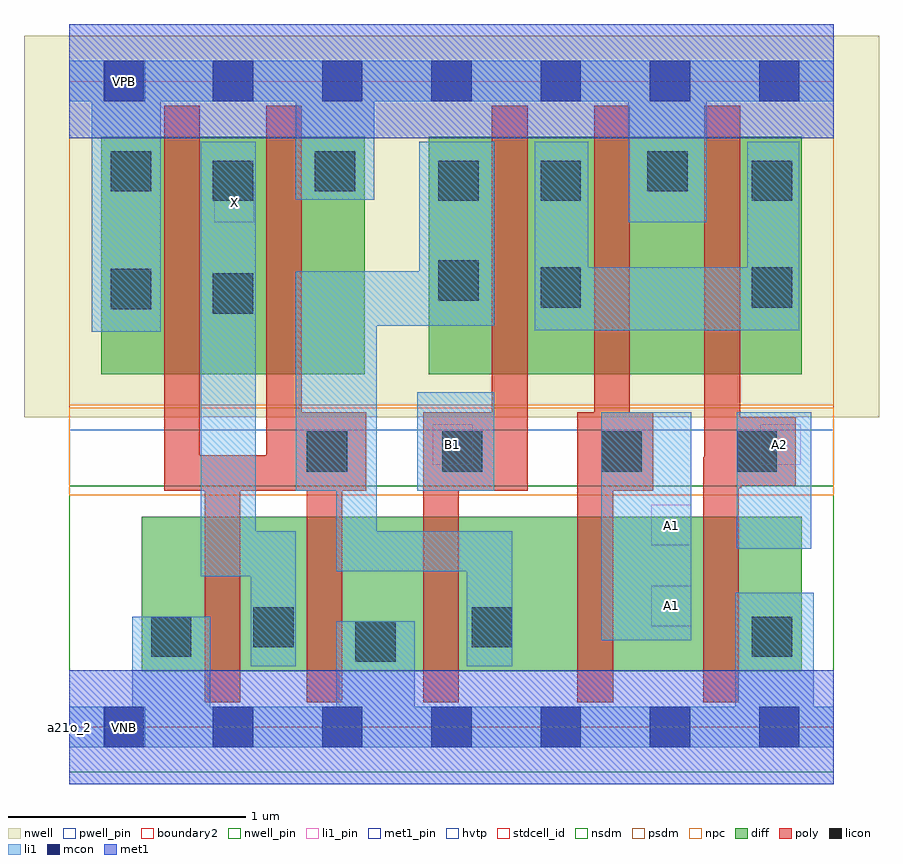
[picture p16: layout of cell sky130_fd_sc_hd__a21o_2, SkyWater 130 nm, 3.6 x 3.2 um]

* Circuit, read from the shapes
.subckt sky130_fd_sc_hd__a21o_2 A1 A2 B1 VGND VNB VPB VPWR X
XM1 X n1 VGND VNB sky130_fd_pr__nfet_01v8 w=0.65 l=0.15 m=2
XM2 n1 B1 VGND VNB sky130_fd_pr__nfet_01v8 w=0.65 l=0.15
XM3 n2 A1 n1 VNB sky130_fd_pr__nfet_01v8 w=0.65 l=0.15
XM4 VGND A2 n2 VNB sky130_fd_pr__nfet_01v8 w=0.65 l=0.15
XM5 X n1 VPWR VPB sky130_fd_pr__pfet_01v8_hvt w=1 l=0.15 m=2
XM6 n3 B1 n1 VPB sky130_fd_pr__pfet_01v8_hvt w=1 l=0.15
XM7 VPWR A1 n3 VPB sky130_fd_pr__pfet_01v8_hvt w=1 l=0.15
XM8 n3 A2 VPWR VPB sky130_fd_pr__pfet_01v8_hvt w=1 l=0.15
.ends

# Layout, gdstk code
import gdstk
lib = gdstk.Library(unit=1e-6, precision=1e-09)
def R(c, l, rs):  # rectangles x0, y0, x1, y1
    for r in rs: c.add(gdstk.rectangle(r[:2], r[2:], *l))
def A(c, l, x, y, w, h, nx, ny, dx, dy):  # array of equal rectangles
    R(c, l, [(x+i*dx, y+j*dy, x+i*dx+w, y+j*dy+h) for i in range(nx) for j in range(ny)])
def P(c, l, *ps):  # polygons
    for p in ps: c.add(gdstk.Polygon(p, *l))
nwell_pin = (64, 16)
nwell = (64, 20)
diff = (65, 20)
poly = (66, 20)
licon = (66, 44)
li1_pin = (67, 16)
li1 = (67, 20)
mcon = (67, 44)
met1_pin = (68, 16)
met1 = (68, 20)
hvtp = (78, 44)
stdcell_id = (81, 4)
nsdm = (93, 44)
psdm = (94, 20)
npc = (95, 20)
pwell_pin = (122, 16)
boundary2 = (236, 0)

sky130_fd_sc_hd__a21o_2 = lib.new_cell('sky130_fd_sc_hd__a21o_2')
R(sky130_fd_sc_hd__a21o_2, nwell_pin, [(0.15,2.635,0.32,2.805)])
R(sky130_fd_sc_hd__a21o_2, nwell, [(-0.19,1.305,3.41,2.91)])
R(sky130_fd_sc_hd__a21o_2, diff, [(0.305,0.235,3.085,0.885), (0.135,1.485,1.245,2.485), (1.515,1.485,3.085,2.485)])
P(sky130_fd_sc_hd__a21o_2, poly, [(1.25,1.325),(0.98,1.325),(0.98,2.615),(0.83,2.615),(0.83,1.145),(0.55,1.145),(0.55,2.615),(0.4,2.615),(0.4,0.995),(0.57,0.995),(0.57,0.105),(0.72,0.105),(0.72,0.995),(1,0.995),(1,0.105),(1.15,0.105),(1.15,0.995),(1.25,0.995)],
  [(1.93,2.615),(1.78,2.615),(1.78,1.325),(1.49,1.325),(1.49,0.105),(1.64,0.105),(1.64,0.995),(1.93,0.995)],
  [(2.46,1.325),(2.36,1.325),(2.36,2.615),(2.21,2.615),(2.21,1.325),(2.14,1.325),(2.14,0.105),(2.29,0.105),(2.29,0.995),(2.46,0.995)],
  [(3.06,1.305),(2.825,1.305),(2.825,2.615),(2.675,2.615),(2.675,1.135),(2.67,1.135),(2.67,0.105),(2.82,0.105),(2.82,1.005),(2.83,1.005),(2.83,1.015),(3.06,1.015)])
R(sky130_fd_sc_hd__a21o_2, licon, [(1.205,0.275,1.375,0.445), (0.345,0.295,0.515,0.465), (2.875,0.295,3.045,0.465), (0.775,0.335,0.945,0.505), (1.695,0.335,1.865,0.505), (1,1.075,1.17,1.245), (1.57,1.075,1.74,1.245), (2.24,1.075,2.41,1.245), (2.81,1.075,2.98,1.245), (0.605,1.74,0.775,1.91), (0.175,1.76,0.345,1.93), (1.985,1.765,2.155,1.935), (2.875,1.765,3.045,1.935), (1.555,1.795,1.725,1.965), (0.605,2.215,0.775,2.385), (1.555,2.215,1.725,2.385), (1.985,2.215,2.155,2.385), (2.875,2.215,3.045,2.385), (0.175,2.255,0.345,2.425), (1.035,2.255,1.205,2.425), (2.435,2.255,2.605,2.425)])
R(sky130_fd_sc_hd__a21o_2, li1_pin, [(2.45,0.425,2.62,0.595), (2.45,0.765,2.62,0.935), (1.53,1.105,1.7,1.275), (2.91,1.105,3.08,1.275), (0.61,2.125,0.78,2.295)])
R(sky130_fd_sc_hd__a21o_2, li1, [(2.24,0.365,2.62,1.325), (2.81,0.75,3.125,1.325), (1.465,0.995,1.79,1.41)])
P(sky130_fd_sc_hd__a21o_2, li1, [(0.955,0.825),(0.785,0.825),(0.785,2.465),(0.555,2.465),(0.555,0.635),(0.765,0.635),(0.765,0.255),(0.955,0.255)],
  [(1.865,0.825),(1.295,0.825),(1.295,1.69),(1.79,1.69),(1.79,2.465),(1.475,2.465),(1.475,1.92),(0.955,1.92),(0.955,0.995),(1.125,0.995),(1.125,0.655),(1.675,0.655),(1.675,0.255),(1.865,0.255)],
  [(3.22,0.085),(3.135,0.085),(3.135,0.565),(2.805,0.565),(2.805,0.085),(1.455,0.085),(1.455,0.445),(1.125,0.445),(1.125,0.085),(0.595,0.085),(0.595,0.465),(0.265,0.465),(0.265,0.085),(0,0.085),(0,-0.085),(3.22,-0.085)],
  [(3.22,2.805),(0,2.805),(0,2.635),(0.095,2.635),(0.095,1.665),(0.385,1.665),(0.385,2.635),(0.955,2.635),(0.955,2.22),(1.285,2.22),(1.285,2.635),(2.355,2.635),(2.355,2.125),(2.685,2.125),(2.685,2.635),(3.22,2.635)],
  [(3.075,2.465),(2.855,2.465),(2.855,1.935),(2.185,1.935),(2.185,2.465),(1.96,2.465),(1.96,1.67),(3.075,1.67)])
A(sky130_fd_sc_hd__a21o_2, mcon, 0.145, -0.085, 0.17, 0.17, 7, 2, 0.46, 2.72)
R(sky130_fd_sc_hd__a21o_2, met1_pin, [(0.15,-0.085,0.32,0.085), (0.15,2.635,0.32,2.805)])
R(sky130_fd_sc_hd__a21o_2, hvtp, [(0,1.25,3.22,2.72)])
R(sky130_fd_sc_hd__a21o_2, stdcell_id, [(0,0,3.22,2.72)])
R(sky130_fd_sc_hd__a21o_2, nsdm, [(0,-0.19,3.22,1.015)])
R(sky130_fd_sc_hd__a21o_2, psdm, [(0,1.355,3.22,2.91)])
R(sky130_fd_sc_hd__a21o_2, npc, [(0,0.975,3.22,1.345)])
R(sky130_fd_sc_hd__a21o_2, pwell_pin, [(0.15,-0.085,0.32,0.085)])
R(sky130_fd_sc_hd__a21o_2, boundary2, [(0,0,3.22,2.72)])
sky130_fd_sc_hd__a21o_2.add(gdstk.FlexPath([(0,2.72),(3.22,2.72)], 0.48, ends="flush", simple_path=True, layer=68, datatype=20))  # met1
sky130_fd_sc_hd__a21o_2.add(gdstk.FlexPath([(0,0),(3.22,0)], 0.48, ends="flush", simple_path=True, layer=68, datatype=20))  # met1
sky130_fd_sc_hd__a21o_2.add(gdstk.Label('X', (0.695,2.21), layer=67, texttype=5))
sky130_fd_sc_hd__a21o_2.add(gdstk.Label('B1', (1.615,1.19), layer=67, texttype=5))
sky130_fd_sc_hd__a21o_2.add(gdstk.Label('A1', (2.535,0.85), layer=67, texttype=5))
sky130_fd_sc_hd__a21o_2.add(gdstk.Label('A2', (2.99,1.19), layer=67, texttype=5))
sky130_fd_sc_hd__a21o_2.add(gdstk.Label('A1', (2.535,0.51), layer=67, texttype=5))
sky130_fd_sc_hd__a21o_2.add(gdstk.Label('VNB', (0.235,0), layer=64, texttype=59))
sky130_fd_sc_hd__a21o_2.add(gdstk.Label('VPB', (0.235,2.72), layer=64, texttype=5))
sky130_fd_sc_hd__a21o_2.add(gdstk.Label('VGND', (0.235,0), layer=68, texttype=5))
sky130_fd_sc_hd__a21o_2.add(gdstk.Label('VPWR', (0.235,2.72), layer=68, texttype=5))
sky130_fd_sc_hd__a21o_2.add(gdstk.Label('a21o_2', (0,0), layer=83, texttype=44))

lib.write_gds('sky130_fd_sc_hd__a21o_2.gds')
